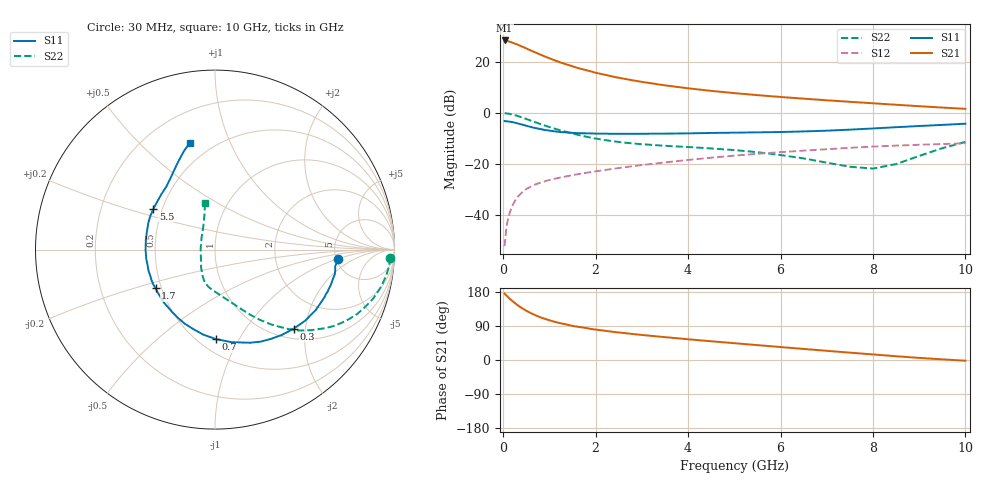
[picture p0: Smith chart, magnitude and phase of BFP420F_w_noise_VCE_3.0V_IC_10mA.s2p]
! Infineon Technologies  Discrete & RF Semiconductors
! BFP420F
! VCE =  3.0 V,  IC =  10 mA
! Common Emitter S-Parameters:  Sep 2011
# GHz  S  MA  R  50
!  f  S11  S21  S12  S22
! GHz  MAG  ANG  MAG  ANG  MAG  ANG  MAG  ANG
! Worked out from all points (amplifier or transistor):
!   54 points, 30 MHz to 10 GHz, reference 50 ohm
!   highest |S21| = 28.4 dB at 30 MHz (marker M1)
!   |S21| within 3 dB of that: start of sweep to 483 MHz
!   unconditionally stable (mu >= 1): 2.073 GHz to end of sweep
!   at 120 MHz: K = 0.17, MSG = 34.3 dB, |S12| = -40.6 dB
!   at 1.3 GHz: K = 0.74, MSG = 22.3 dB, |S12| = -25.2 dB
!   at 10 GHz: K = 1.29, MAG = 3.6 dB, |S12| = -12.0 dB
!   lowest NFmin = 1.18 dB at 450 MHz
!   S11 on the Smith chart (normalised r, x): 30 MHz: 5.16, -1.08; 300 MHz: 1.21, -1.73; 700 MHz: 0.61, -0.81; 1.7 GHz: 0.46, -0.24; 5.5 GHz: 0.45, +0.25; 10 GHz: 0.38, +0.72
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0.03  0.6872 -4.6  26.25 175.2  0.0024 80.6  0.9766 -2.6
0.05  0.6759 -7.9  25.96 172.2  0.0036 85.2  0.9749 -4.4
0.07  0.6817 -11.5  25.94 170.3  0.0055 82.7  0.9713 -6.2
0.1  0.675 -16.2  25.56 166.4  0.0077 82.0  0.9634 -8.8
0.15  0.6651 -23.7  24.58 160.6  0.0115 79.2  0.945 -13.1
0.25  0.6396 -38.3  22.78 150.4  0.0184 73.6  0.8968 -20.7
0.3  0.6217 -45.1  21.98 145.8  0.0216 71.2  0.8709 -24.2
0.35  0.6042 -51.8  21.02 141.4  0.0243 68.9  0.8412 -27.4
0.45  0.5725 -63.6  19.2 133.6  0.0295 65.0  0.7839 -33.0
0.6  0.5243 -79.8  16.61 123.5  0.0357 60.6  0.6975 -40.1
0.7  0.4991 -89.2  15.21 117.9  0.0393 58.5  0.649 -44.0
0.8  0.4786 -97.7  13.88 112.8  0.0423 57.0  0.6023 -47.3
0.9  0.459 -105.3  12.69 108.7  0.0451 55.8  0.5608 -50.1
1.1  0.4327 -118.6  10.83 101.3  0.0502 54.1  0.4907 -55.3
1.5  0.4022 -139.4  8.154 90.0  0.0595 52.9  0.3908 -63.3
1.7  0.3948 -147.1  7.2 86.1  0.0639 52.6  0.3534 -67.0
2.4  0.3855 -167.4  5.06 73.9  0.0798 51.9  0.2744 -79.0
3.5  0.3893 171.9  3.45 60.3  0.1059 50.0  0.2245 -93.9
5.5  0.4119 146.4  2.217 39.2  0.1561 41.8  0.168 -113.6
7  0.4441 127.5  1.756 24.2  0.1923 33.8  0.1047 -137.8
8.5  0.5199 114.1  1.435 9.9  0.2263 24.3  0.0981 140.1
10  0.6091 103.4  1.192 -1.9  0.2509 15.5  0.2676 102.0
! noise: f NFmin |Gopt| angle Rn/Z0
0.45  1.18  0.02  48  0.13
0.9  1.19  0.06  87  0.14
1.9  1.33  0.14  155  0.27
2.4  1.39  0.15  158  0.17
3.5  1.66  0.2  179  0.18
